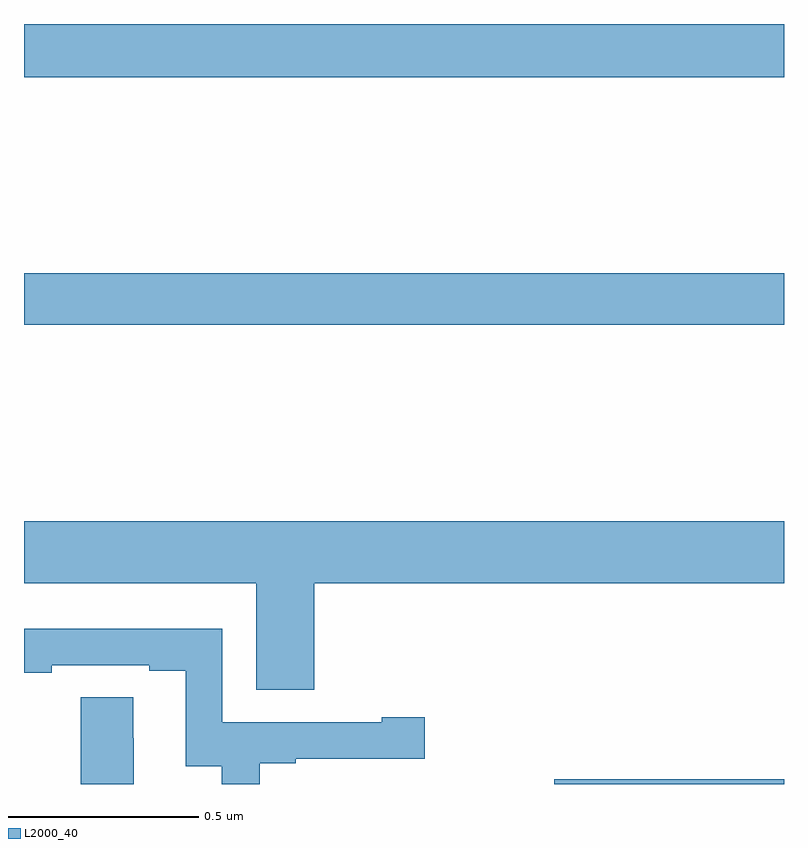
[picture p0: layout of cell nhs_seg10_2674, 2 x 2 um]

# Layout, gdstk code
import gdstk
lib = gdstk.Library(unit=1e-6, precision=1e-09)
def R(c, l, rs):  # rectangles x0, y0, x1, y1
    for r in rs: c.add(gdstk.rectangle(r[:2], r[2:], *l))
def P(c, l, *ps):  # polygons
    for p in ps: c.add(gdstk.Polygon(p, *l))
L2000_40 = (2000, 40)

nhs_seg10_2674 = lib.new_cell('nhs_seg10_2674')
R(nhs_seg10_2674, L2000_40, [(145.395,1254.5,146,1254.512), (144,1255.708,146,1255.844), (144,1256.36,146,1256.5)])
P(nhs_seg10_2674, L2000_40, [(144.764,1255.028),(146,1255.028),(146,1255.192),(144,1255.192),(144,1255.028),(144.611,1255.028),(144.611,1254.748),(144.764,1254.748)],
  [(144.62,1254.555),(144.715,1254.555),(144.715,1254.567),(145.054,1254.567),(145.054,1254.676),(144.941,1254.676),(144.941,1254.663),(144.522,1254.663),(144.522,1254.909),(144,1254.909),(144,1254.793),(144.073,1254.793),(144.073,1254.813),(144.329,1254.813),(144.329,1254.798),(144.425,1254.798),(144.425,1254.547),(144.52,1254.547),(144.52,1254.5),(144.62,1254.5)],
  [(144.289,1254.62),(144.288,1254.62),(144.288,1254.728),(144.149,1254.728),(144.149,1254.5),(144.289,1254.5)])

lib.write_gds('nhs_seg10_2674.gds')
